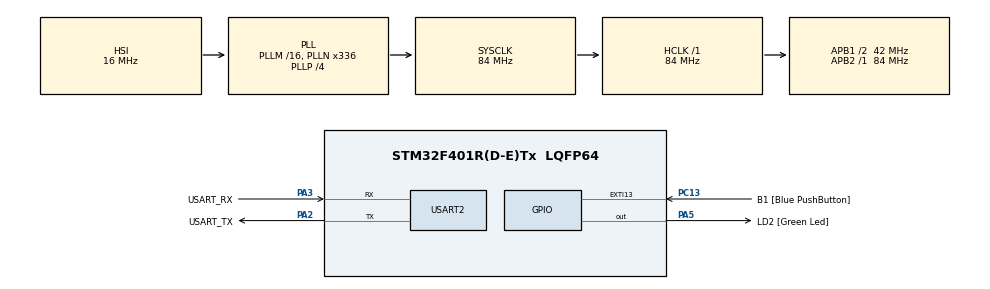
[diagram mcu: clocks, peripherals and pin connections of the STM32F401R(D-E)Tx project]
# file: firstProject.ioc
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Mcu.Family=STM32F4
Mcu.Name=STM32F401R(D-E)Tx
Mcu.Package=LQFP64
NVIC.PriorityGroup=NVIC_PRIORITYGROUP_0
PA13.GPIO_Label=TMS
PA13.Mode=Serial_Wire
PA13.Signal=SYS_JTMS-SWDIO
PA14.GPIO_Label=TCK
PA14.Mode=Serial_Wire
PA14.Signal=SYS_JTCK-SWCLK
PA2.GPIO_Label=USART_TX
PA2.GPIO_Mode=GPIO_MODE_AF_PP
PA2.GPIO_PuPd=GPIO_NOPULL
PA2.GPIO_Speed=GPIO_SPEED_FREQ_LOW
PA2.Mode=Asynchronous
PA2.Signal=USART2_TX
PA3.GPIO_Label=USART_RX
PA3.GPIO_Mode=GPIO_MODE_AF_PP
PA3.GPIO_PuPd=GPIO_NOPULL
PA3.GPIO_Speed=GPIO_SPEED_FREQ_LOW
PA3.Mode=Asynchronous
PA3.Signal=USART2_RX
PA5.GPIO_Label=LD2 [Green Led]
PA5.GPIO_Mode=GPIO_MODE_OUTPUT_PP
PA5.GPIO_PuPd=GPIO_NOPULL
PA5.GPIO_Speed=GPIO_SPEED_FREQ_LOW
PA5.Signal=GPIO_Output
PB3.GPIO_Label=SWO
PB3.Signal=SYS_JTDO-SWO
PC13-ANTI_TAMP.GPIO_Label=B1 [Blue PushButton]
PC13-ANTI_TAMP.GPIO_ModeDefaultEXTI=GPIO_MODE_IT_FALLING
PC13-ANTI_TAMP.GPIO_PuPd=GPIO_NOPULL
PC13-ANTI_TAMP.Signal=GPXTI13
PC14-OSC32_IN.Mode=LSE-External-Oscillator
PC14-OSC32_IN.Signal=RCC_OSC32_IN
PC15-OSC32_OUT.Mode=LSE-External-Oscillator
PC15-OSC32_OUT.Signal=RCC_OSC32_OUT
PH0\ -\ OSC_IN.Mode=HSE-External-Clock-Source
PH0\ -\ OSC_IN.Signal=RCC_OSC_IN
PH1\ -\ OSC_OUT.Mode=HSE-External-Clock-Source
PH1\ -\ OSC_OUT.Signal=RCC_OSC_OUT
ProjectManager.HeapSize=0x200
ProjectManager.StackSize=0x400
ProjectManager.TargetToolchain=STM32CubeIDE
RCC.48MHZClocksFreq_Value=48000000
RCC.AHBFreq_Value=84000000
RCC.APB1CLKDivider=RCC_HCLK_DIV2
RCC.APB1Freq_Value=42000000
RCC.APB1TimFreq_Value=84000000
RCC.APB2Freq_Value=84000000
RCC.APB2TimFreq_Value=84000000
RCC.CortexFreq_Value=84000000
RCC.HCLKFreq_Value=84000000
RCC.HSE_VALUE=8000000
RCC.HSI_VALUE=16000000
RCC.PLLN=336
RCC.PLLP=RCC_PLLP_DIV4
RCC.PLLQ=7
RCC.SYSCLKFreq_VALUE=84000000
RCC.SYSCLKSource=RCC_SYSCLKSOURCE_PLLCLK
RCC.VCOOutputFreq_Value=336000000
USART2.VirtualMode=VM_ASYNC
board=NUCLEO-F401RE

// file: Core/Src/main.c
/* USER CODE BEGIN Header */
/**
  ******************************************************************************
  * @file           : main.c
  * @brief          : Main program body
  ******************************************************************************
  * @attention
  *
  * Copyright (c) 2024 STMicroelectronics.
  * All rights reserved.
  *
  * This software is licensed under terms that can be found in the LICENSE file
  * in the root directory of this software component.
  * If no LICENSE file comes with this software, it is provided AS-IS.
  *
  ******************************************************************************
  */
/* USER CODE END Header */
#include "main.h"
#include <stdio.h>

/* USER CODE BEGIN PD */
#define RUN_FIRST_THREAD 0x3
/* USER CODE END PD */

UART_HandleTypeDef huart2;

/* USER CODE BEGIN PV */
uint32_t* stackptr;
/* USER CODE END PV */

void SystemClock_Config(void);
static void MX_GPIO_Init(void);
static void MX_USART2_UART_Init(void);

/* USER CODE BEGIN 0 */
extern void runFirstThread(void);

int __io_putchar(int ch)
{
	HAL_UART_Transmit(&huart2,(uint8_t*)&ch,1,HAL_MAX_DELAY);
	return ch;
}

void jumpAssembly(void* fcn)
{
	__asm("MOV PC, R0");
}

void print_continuously(void)
{
	while(1)
	{
        printf("Hello, PC!\r\n");
	}
}

void SVC_Handler_Main( unsigned int *svc_args )
{
	unsigned int svc_number;

	svc_number = ((char*)svc_args[6])[-2];
	switch(svc_number)
	{
		case 1:
			printf("Case 1\r\n");
			break;
		case 2:
			printf("Case 2\r\n");
			break;
        case RUN_FIRST_THREAD:
            __set_PSP((uint32_t)stackptr);
            runFirstThread();
            break;
		default:
			break;
	}
}

void start_first_thread(void)
{
    __asm("SVC #3");
}

void print_success_1(void) {
    __asm("SVC #1");
}

void print_success_2(void) {
    __asm("SVC #2");
}

/* USER CODE END 0 */

int main(void)
{

  /* MCU Configuration--------------------------------------------------------*/

  /* Reset of all peripherals, Initializes the Flash interface and the Systick. */
  HAL_Init();

  /* Configure the system clock */
  SystemClock_Config();

  /* Initialize all configured peripherals */
  MX_GPIO_Init();
  MX_USART2_UART_Init();
  /* USER CODE BEGIN 2 */

  //printf("Hello, WORLD!\r\n");

  uint32_t* MSP_INIT_VAL = *(uint32_t**)0x0;
  /*uint32_t* PSP_VAL = (uint32_t)MSP_INIT_VAL - 0x400;

  __set_PSP(PSP_VAL);
  __set_CONTROL(__get_CONTROL() | 0x2);*/

  stackptr = ((uint32_t*) (uint32_t)MSP_INIT_VAL - 0x400);

  *(--stackptr) = 1<<24;
  *(--stackptr) = (uint32_t)print_continuously;
  for (int i = 0; i < 14; i++)
  {
	  *(--stackptr) = 0xA;
  }

  start_first_thread();
  //print_continuously();
  //jumpAssembly((void*)print_continuously);

  //print_success_1();
  //print_success_2();
  /* USER CODE END 2 */

  /* Infinite loop */
  while (1)
  {

  }
}

void SystemClock_Config(void)
{
  RCC_OscInitTypeDef RCC_OscInitStruct = {0};
  RCC_ClkInitTypeDef RCC_ClkInitStruct = {0};

  /** Configure the main internal regulator output voltage
  */
  __HAL_RCC_PWR_CLK_ENABLE();
  __HAL_PWR_VOLTAGESCALING_CONFIG(PWR_REGULATOR_VOLTAGE_SCALE2);

  /** Initializes the RCC Oscillators according to the specified parameters
  * in the RCC_OscInitTypeDef structure.
  */
  RCC_OscInitStruct.OscillatorType = RCC_OSCILLATORTYPE_HSI;
  RCC_OscInitStruct.HSIState = RCC_HSI_ON;
  RCC_OscInitStruct.HSICalibrationValue = RCC_HSICALIBRATION_DEFAULT;
  RCC_OscInitStruct.PLL.PLLState = RCC_PLL_ON;
  RCC_OscInitStruct.PLL.PLLSource = RCC_PLLSOURCE_HSI;
  RCC_OscInitStruct.PLL.PLLM = 16;
  RCC_OscInitStruct.PLL.PLLN = 336;
  RCC_OscInitStruct.PLL.PLLP = RCC_PLLP_DIV4;
  RCC_OscInitStruct.PLL.PLLQ = 7;
  if (HAL_RCC_OscConfig(&RCC_OscInitStruct) != HAL_OK)
  {
    Error_Handler();
  }

  /** Initializes the CPU, AHB and APB buses clocks
  */
  RCC_ClkInitStruct.ClockType = RCC_CLOCKTYPE_HCLK|RCC_CLOCKTYPE_SYSCLK
                              |RCC_CLOCKTYPE_PCLK1|RCC_CLOCKTYPE_PCLK2;
  RCC_ClkInitStruct.SYSCLKSource = RCC_SYSCLKSOURCE_PLLCLK;
  RCC_ClkInitStruct.AHBCLKDivider = RCC_SYSCLK_DIV1;
  RCC_ClkInitStruct.APB1CLKDivider = RCC_HCLK_DIV2;
  RCC_ClkInitStruct.APB2CLKDivider = RCC_HCLK_DIV1;

  if (HAL_RCC_ClockConfig(&RCC_ClkInitStruct, FLASH_LATENCY_2) != HAL_OK)
  {
    Error_Handler();
  }
}

static void MX_USART2_UART_Init(void)
{

  huart2.Instance = USART2;
  huart2.Init.BaudRate = 115200;
  huart2.Init.WordLength = UART_WORDLENGTH_8B;
  huart2.Init.StopBits = UART_STOPBITS_1;
  huart2.Init.Parity = UART_PARITY_NONE;
  huart2.Init.Mode = UART_MODE_TX_RX;
  huart2.Init.HwFlowCtl = UART_HWCONTROL_NONE;
  huart2.Init.OverSampling = UART_OVERSAMPLING_16;
  if (HAL_UART_Init(&huart2) != HAL_OK)
  {
    Error_Handler();
  }

}

static void MX_GPIO_Init(void)
{
  GPIO_InitTypeDef GPIO_InitStruct = {0};

  /* GPIO Ports Clock Enable */
  __HAL_RCC_GPIOC_CLK_ENABLE();
  __HAL_RCC_GPIOH_CLK_ENABLE();
  __HAL_RCC_GPIOA_CLK_ENABLE();
  __HAL_RCC_GPIOB_CLK_ENABLE();

  /*Configure GPIO pin Output Level */
  HAL_GPIO_WritePin(LD2_GPIO_Port, LD2_Pin, GPIO_PIN_RESET);

  /*Configure GPIO pin : B1_Pin */
  GPIO_InitStruct.Pin = B1_Pin;
  GPIO_InitStruct.Mode = GPIO_MODE_IT_FALLING;
  GPIO_InitStruct.Pull = GPIO_NOPULL;
  HAL_GPIO_Init(B1_GPIO_Port, &GPIO_InitStruct);

  /*Configure GPIO pin : LD2_Pin */
  GPIO_InitStruct.Pin = LD2_Pin;
  GPIO_InitStruct.Mode = GPIO_MODE_OUTPUT_PP;
  GPIO_InitStruct.Pull = GPIO_NOPULL;
  GPIO_InitStruct.Speed = GPIO_SPEED_FREQ_LOW;
  HAL_GPIO_Init(LD2_GPIO_Port, &GPIO_InitStruct);

}

void Error_Handler(void)
{
  __disable_irq();
  while (1)
  {
  }
}
